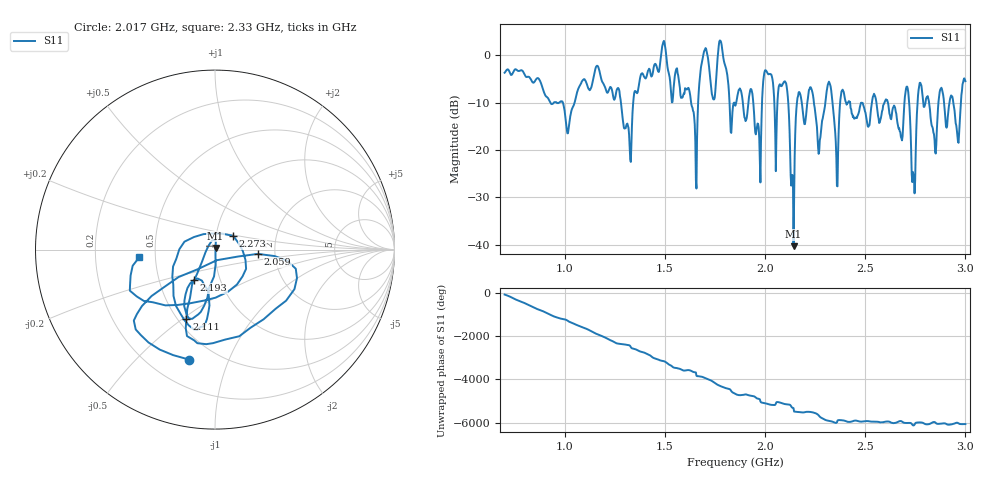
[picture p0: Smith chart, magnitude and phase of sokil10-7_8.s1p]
# HZ S RI R 50
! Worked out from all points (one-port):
!   808 points, 700 MHz to 3 GHz, reference 50 ohm
!   lowest |S11| = -40.3 dB at 2.142 GHz (marker M1), VSWR 1.02, Z = 50.3 + j0.924 ohm
!   |S11| at or under -10 dB: 1.281 GHz to 1.342 GHz (61.21 MHz wide, 4.67 % of centre); 2.425 GHz to 2.533 GHz (108.8 MHz wide, 4.39 % of centre); 2.613 GHz to 2.696 GHz (82.54 MHz wide, 3.11 % of centre)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
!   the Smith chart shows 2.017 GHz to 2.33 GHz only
!   S11 on the Smith chart (normalised r, x): 2.017 GHz: 0.36, -0.73; 2.059 GHz: 1.63, -0.08; 2.111 GHz: 0.55, -0.52; 2.193 GHz: 0.75, -0.26; 2.273 GHz: 1.21, +0.19; 2.33 GHz: 0.40, -0.04
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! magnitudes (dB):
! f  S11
! 700 MHz  -3.7
! 987.9 MHz  -9.7
! 1.276 GHz  -8.6
! 1.324 GHz  -19.3
! 1.492 GHz  2.8
! 1.564 GHz  -3.8
! 1.652 GHz  -18.1
! 1.7 GHz  1.2
! 1.851 GHz  -10.7
! 1.968 GHz  -15.2
! 2.017 GHz  -4.0
! 2.059 GHz  -12.4
! 2.111 GHz  -7.5
! 2.139 GHz  -26.7
! 2.142 GHz  -40.3
! 2.165 GHz  -8.6
! 2.193 GHz  -13.7
! 2.273 GHz  -17.9
! 2.33 GHz  -7.4
! 2.356 GHz  -21.6
! 2.384 GHz  -7.4
! 2.427 GHz  -11.2
! 2.715 GHz  -7.9
! 2.741 GHz  -25.2
! 2.772 GHz  -5.8
! 2.846 GHz  -17.9
! 2.963 GHz  -18.2
! 3 GHz  -5.5
